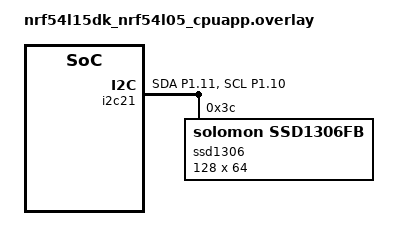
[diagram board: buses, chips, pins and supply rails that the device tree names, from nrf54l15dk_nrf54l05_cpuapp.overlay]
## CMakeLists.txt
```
cmake_minimum_required(VERSION 3.20.0)
set(DTC_OVERLAY_FILE "${CMAKE_CURRENT_SOURCE_DIR}/nrf54l15dk_nrf54l05_cpuapp.overlay")
find_package(Zephyr REQUIRED HINTS $ENV{ZEPHYR_BASE})

project(VCPcontroller)

target_sources(app PRIVATE
    src/main.c
    src/ble_manager.c
    src/vcp_controller.c
    src/battery_reader.c
    src/csip_coordinator.c
    src/app_controller.c
    src/devices_manager.c
    src/has_controller.c
    src/display_manager.c
    src/power_manager.c
    src/button_manager.c
)
```

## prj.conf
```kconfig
CONFIG_BT=y
CONFIG_BT_MAX_CONN=2
CONFIG_BT_MAX_PAIRED=2
CONFIG_BT_DEVICE_NAME="HARC"
CONFIG_BT_CENTRAL=y
CONFIG_BT_BONDABLE=y
CONFIG_BT_SMP=y
CONFIG_BT_SMP_SC_PAIR_ONLY=y
CONFIG_BT_SMP_APP_PAIRING_ACCEPT=y
CONFIG_BT_PRIVACY=y
CONFIG_BT_GATT_AUTO_SEC_REQ=y
CONFIG_BT_FILTER_ACCEPT_LIST=y
CONFIG_BT_RPA_TIMEOUT_DYNAMIC=y

CONFIG_BT_EXT_ADV=y
CONFIG_BT_CTLR_SCAN_DATA_LEN_MAX=251

CONFIG_BT_GATT_CLIENT=y
CONFIG_BT_GATT_AUTO_DISCOVER_CCC=y
CONFIG_BT_GATT_AUTO_UPDATE_MTU=y
CONFIG_BT_GATT_CACHING=y
CONFIG_BT_GATT_SERVICE_CHANGED=y
# Increase GATT resources for multiple concurrent operations
CONFIG_BT_ATT_TX_COUNT=8
CONFIG_BT_ATT_PREPARE_COUNT=4
CONFIG_BT_L2CAP_TX_BUF_COUNT=8
CONFIG_BT_AUDIO=y
CONFIG_BT_VCP_VOL_CTLR=y
CONFIG_BT_CSIP_SET_COORDINATOR=y

# UTF8 support (required by HAS client)
CONFIG_UTF8=y

# Hearing Access Service (HAS) Client support
CONFIG_BT_HAS_CLIENT=y

CONFIG_LOG=y
# Make buffer huge to capture all logs
CONFIG_LOG_BUFFER_SIZE=4096
CONFIG_SYSTEM_WORKQUEUE_STACK_SIZE=4096
CONFIG_MAIN_STACK_SIZE=4096

# Enable heap for k_malloc
CONFIG_HEAP_MEM_POOL_SIZE=4096

# Power Management
CONFIG_PM_DEVICE=y
CONFIG_CRC=y
CONFIG_POWEROFF=y
CONFIG_HWINFO=y

# Enable debug logging
# CONFIG_BT_CONN_LOG_LEVEL_DBG=y
# CONFIG_BT_VCP_VOL_CTLR_LOG_LEVEL_DBG=y
# CONFIG_BT_ATT_LOG_LEVEL_DBG=y
# CONFIG_BT_GATT_LOG_LEVEL_DBG=y
# CONFIG_BT_SMP_LOG_LEVEL_DBG=y
# CONFIG_BT_KEYS_LOG_LEVEL_DBG=y
# CONFIG_BT_RPA_LOG_LEVEL_DBG=y
# CONFIG_SETTINGS_LOG_LEVEL_DBG=y
# CONFIG_BT_CSIP_SET_COORDINATOR_LOG_LEVEL_DBG=y
# CONFIG_BT_CSIP_SET_MEMBER_CRYPTO_LOG_LEVEL_DBG=y
# CONFIG_BT_HAS_CLIENT_LOG_LEVEL_DBG=y

CONFIG_BT_SETTINGS=y
CONFIG_SETTINGS=y
CONFIG_FLASH=y
CONFIG_FLASH_MAP=y
CONFIG_NVS=y
CONFIG_FLASH_PAGE_LAYOUT=y
CONFIG_MPU_ALLOW_FLASH_WRITE=y
CONFIG_BT_SETTINGS_CCC_STORE_ON_WRITE=y

# GPIO Support for buttons
CONFIG_GPIO=y

# I2C Support
CONFIG_I2C=y

# Display Support
CONFIG_DISPLAY=y
CONFIG_SSD1306=y

# Character Frame Buffer for text rendering
CONFIG_CHARACTER_FRAMEBUFFER=y

CONFIG_SEGGER_DEBUGMON=y
CONFIG_CORTEX_M_DEBUG_MONITOR_HOOK=y
```

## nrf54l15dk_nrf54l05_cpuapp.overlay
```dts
/*
 * Device Tree Overlay for nRF54L15DK
 * Configures I2C for OLED display (SSD1306)
 * SDA: P1.11, SCL: P1.10
 */

/* Pin Configuration for I2C21 */
/{
    chosen {
        zephyr,display = &ssd1306;
    };
};

&pinctrl {
    i2c21_default: i2c21_default {
        group1 {
            psels = <NRF_PSEL(TWIM_SDA, 1, 11)>,
                    <NRF_PSEL(TWIM_SCL, 1, 10)>;
        };
    };

    i2c21_sleep: i2c21_sleep {
        group1 {
            psels = <NRF_PSEL(TWIM_SDA, 1, 11)>,
                    <NRF_PSEL(TWIM_SCL, 1, 10)>;
            low-power-enable;
        };
    };
};

&i2c21 {
    compatible = "nordic,nrf-twim";
    status = "okay";
    pinctrl-0 = <&i2c21_default>;
    pinctrl-1 = <&i2c21_sleep>;
    pinctrl-names = "default", "sleep";

    ssd1306: ssd1306@3c {
        compatible = "solomon,ssd1306fb";
        reg = <0x3c>;
        width = <128>;
        height = <64>;
        segment-offset = <0>;
        page-offset = <0>;
        display-offset = <0>;
        multiplex-ratio = <63>;
        segment-remap;
        com-invdir;
        prechargep = <0x22>;
    };
};
```

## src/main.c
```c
#include <zephyr/kernel.h>
#include <zephyr/bluetooth/bluetooth.h>
#include <zephyr/logging/log.h>
#include <zephyr/drivers/gpio.h>

#include "ble_manager.h"
#include "vcp_controller.h"
#include "csip_coordinator.h"
#include "devices_manager.h"
#include "battery_reader.h"
#include "app_controller.h"
#include "has_controller.h"
#include "display_manager.h"

LOG_MODULE_REGISTER(main, LOG_LEVEL_INF);

/* Button definitions from device tree */
static const struct gpio_dt_spec button1 = GPIO_DT_SPEC_GET(DT_ALIAS(sw0), gpios);
static const struct gpio_dt_spec button2 = GPIO_DT_SPEC_GET(DT_ALIAS(sw1), gpios);
static const struct gpio_dt_spec button3 = GPIO_DT_SPEC_GET(DT_ALIAS(sw2), gpios);
static const struct gpio_dt_spec button4 = GPIO_DT_SPEC_GET(DT_ALIAS(sw3), gpios);
static struct gpio_callback button4_cb_data;
static struct gpio_callback button1_cb_data;
static struct gpio_callback button2_cb_data;
static struct gpio_callback button3_cb_data;

/* Button callbacks */
void button1_pressed(const struct device *dev, struct gpio_callback *cb, uint32_t pins)
{
    LOG_INF("Button 1 pressed - Volume Up");
    app_controller_notify_volume_up_button_pressed();
}

void button2_pressed(const struct device *dev, struct gpio_callback *cb, uint32_t pins)
{
    LOG_INF("Button 2 pressed - Volume Down");
    app_controller_notify_volume_down_button_pressed();
}

void button3_pressed(const struct device *dev, struct gpio_callback *cb, uint32_t pins)
{
    LOG_WRN("Button 3 pressed - Pairing!");
    app_controller_notify_pair_button_pressed();
}

void button4_pressed(const struct device *dev, struct gpio_callback *cb, uint32_t pins)
{
    LOG_INF("Button 4 pressed - Next Preset");
    app_controller_notify_preset_button_pressed();
}

static int init_buttons(void)
{
    int ret;

    if (!gpio_is_ready_dt(&button1)) {
        LOG_ERR("Button 1 device not ready");
        return -ENODEV;
    }

    if (!gpio_is_ready_dt(&button2)) {
        LOG_ERR("Button 2 device not ready");
        return -ENODEV;
    }

    if (!gpio_is_ready_dt(&button3)) {
        LOG_ERR("Button 3 device not ready");
        return -ENODEV;
    }

    ret = gpio_pin_configure_dt(&button1, GPIO_INPUT);
    if (ret != 0) {
        LOG_ERR("Failed to configure button 1 (err %d)", ret);
        return ret;
    }

    ret = gpio_pin_configure_dt(&button2, GPIO_INPUT);
    if (ret != 0) {
        LOG_ERR("Failed to configure button 2 (err %d)", ret);
        return ret;
    }

    ret = gpio_pin_configure_dt(&button3, GPIO_INPUT);
    if (ret != 0) {
        LOG_ERR("Failed to configure button 3 (err %d)", ret);
        return ret;
    }

    ret = gpio_pin_interrupt_configure_dt(&button1, GPIO_INT_EDGE_TO_ACTIVE);
    if (ret != 0) {
        LOG_ERR("Failed to configure button 1 interrupt (err %d)", ret);
        return ret;
    }

    ret = gpio_pin_interrupt_configure_dt(&button2, GPIO_INT_EDGE_TO_ACTIVE);
    if (ret != 0) {
        LOG_ERR("Failed to configure button 2 interrupt (err %d)", ret);
        return ret;
    }

    ret = gpio_pin_interrupt_configure_dt(&button3, GPIO_INT_EDGE_TO_ACTIVE);
    if (ret != 0) {
        LOG_ERR("Failed to configure button 3 interrupt (err %d)", ret);
        return ret;
    }

    if (!gpio_is_ready_dt(&button4)) {
        LOG_ERR("Button 4 device not ready");
        return -ENODEV;
    }

    ret = gpio_pin_configure_dt(&button4, GPIO_INPUT);
    if (ret != 0) {
        LOG_ERR("Failed to configure button 4 (err %d)", ret);
        return ret;
    }

    ret = gpio_pin_interrupt_configure_dt(&button4, GPIO_INT_EDGE_TO_ACTIVE);
    if (ret != 0) {
        LOG_ERR("Failed to configure button 4 interrupt (err %d)", ret);
        return ret;
    }

    gpio_init_callback(&button1_cb_data, button1_pressed, BIT(button1.pin));
    gpio_add_callback(button1.port, &button1_cb_data);

    gpio_init_callback(&button2_cb_data, button2_pressed, BIT(button2.pin));
    gpio_add_callback(button2.port, &button2_cb_data);

    gpio_init_callback(&button3_cb_data, button3_pressed, BIT(button3.pin));
    gpio_add_callback(button3.port, &button3_cb_data);

    gpio_init_callback(&button4_cb_data, button4_pressed, BIT(button4.pin));
    gpio_add_callback(button4.port, &button4_cb_data);

    LOG_INF("Buttons initialized: Button 1 = Vol Up, Button 2 = Vol Down, Button 3 = Pair new HIs, Button 4 = Next Preset");
    return 0;
}

int main(void)
{
    int err;

    // /* Initialize work queue for display updates */
    // k_work_init(&display_update_work, display_update_work_handler);

    if (IS_ENABLED(CONFIG_SETTINGS)) {
        err = settings_subsys_init();
        if (err) {
            LOG_ERR("Settings init failed (err %d)", err);
        }

        err = settings_load();
        if (err) {
            LOG_ERR("Settings load failed (err %d)", err);
        }
    }

    err = vcp_controller_init();
	if (err) {
		LOG_ERR("VCP controller init failed (err %d)", err);
		return err;
	}

    err = battery_reader_init();
	if (err)
	{
		LOG_ERR("Battery reader init failed (err %d)", err);
		return err;
	}

	err = csip_coordinator_init();
	if (err)
	{
		LOG_ERR("CSIP coordinator init failed (err %d)", err);
		return err;
	}

    LOG_INF("Starting display initialization...");
    err = display_manager_init();
    if (err) {
        LOG_WRN("Display manager init failed (err %d) - continuing without display", err);
    }
    LOG_INF("Display initialization completed");

    err = has_controller_init();
    if (err) {
        LOG_ERR("HAS controller init failed (err %d)", err);
        return err;
    }

    // LOG_INF("Starting display initialization...");
    // err = display_manager_init();
    // if (err) {
    //     LOG_WRN("Display manager init failed (err %d) - continuing without display", err);
    // }
    // LOG_INF("Display initialization completed");

    /* Initialize buttons */
    err = init_buttons();
    if (err) {
        LOG_ERR("Button init failed (err %d)", err);
        return err;
    }

    /* Initialize Bluetooth */
    err = bt_enable(bt_ready_cb);
    // /* Initialize OLED display */
    // err = oled_display_init();
    // if (err) {
    //     LOG_ERR("OLED init failed (err %d)", err);
    //     return err;
    // }
    // oled_display_status("INITIALIZING");

    // /* Initialize button handlers */
    // err = button_handler_init();
    // if (err) {
    //     LOG_ERR("Button handler init failed (err %d)", err);
    //     return err;
    // }

    while (1) {
        k_sleep(K_SECONDS(1));
    }

    return 0;
}
```

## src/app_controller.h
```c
#ifndef CONNECTION_MANAGER_H
#define CONNECTION_MANAGER_H

#include "ble_manager.h"
#include <zephyr/logging/log.h>
#include <zephyr/kernel.h>
#include <zephyr/bluetooth/bluetooth.h>
#include <zephyr/bluetooth/conn.h>
#include <zephyr/settings/settings.h>

/* Connection state machine states for dual-device coordination */
enum sm_state {
    SM_IDLE,            /* Normal operation, waiting for user input */
    SM_WAKE,            /* Just woke up, determining next state */
    SM_FIRST_TIME_USE,  /* Initial pairing with new hearing aids */
    SM_BONDED_DEVICES,  /* Reconnecting to bonded devices */
    SM_POWER_OFF,       /* Shutting down */
};

#define APP_CONTROLLER_PAIRING_TIMEOUT K_SECONDS(30)
#define APP_CONTROLLER_ACTION_TIMEOUT K_SECONDS(10)

int8_t app_controller_notify_system_ready();
int8_t app_controller_notify_device_connected(uint8_t device_id);
int8_t app_controller_notify_device_disconnected(uint8_t device_id);
int8_t app_controller_notify_bonds_cleared();
int8_t app_controller_notify_device_ready(uint8_t device_id);
int8_t app_controller_notify_scan_complete();
int8_t app_controller_notify_csip_discovered(uint8_t device_id, int8_t err);
int8_t app_controller_notify_csip_member_match(uint8_t device_id, int8_t err, const bt_addr_le_t *addr);
int8_t app_controller_notify_bas_discovered(uint8_t device_id, int err);
int8_t app_controller_notify_vcp_discovered(uint8_t device_id, int err);
int8_t app_controller_notify_vcp_state_read(uint8_t device_id, int err);
int8_t app_controller_notify_volume_up_button_pressed();
int8_t app_controller_notify_volume_down_button_pressed();
int8_t app_controller_notify_pair_button_pressed();
int8_t app_controller_notify_preset_button_pressed();
int8_t app_controller_notify_clear_bonds_button_pressed();
int8_t app_controller_notify_has_discovered(uint8_t device_id, int err);
int8_t app_controller_notify_has_presets_read(uint8_t device_id, int err);
int8_t app_controller_notify_has_read_presets();
int8_t app_controller_notify_power_off();

#endif /* CONNECTION_MANAGER_H */
```

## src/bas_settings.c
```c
/**
 * @file bas_settings.c
 * @brief BAS handle caching in NVS settings
 */

#include "bas_settings.h"

#include <zephyr/settings/settings.h>
#include <zephyr/logging/log.h>
#include <string.h>

LOG_MODULE_REGISTER(bas_settings, LOG_LEVEL_INF);

/**
 * @brief Store BAS handles to NVS
 */
int bas_settings_store_handles(const bt_addr_le_t *addr,
                               const struct bt_bas_handles *handles)
{
	if (!addr || !handles) {
		return -EINVAL;
	}

	char addr_str[BT_ADDR_LE_STR_LEN];
	bt_addr_le_to_str(addr, addr_str, sizeof(addr_str));

	/* Create settings key: "harc/device/<addr>/bas_handles" */
	char key[64];
	snprintk(key, sizeof(key), "harc/device/%s/bas_handles", addr_str);

	/* Store handles as binary blob */
	int err = settings_save_one(key, handles, sizeof(*handles));
	if (err) {
		LOG_ERR("Failed to store BAS handles for %s (err %d)", addr_str, err);
		return err;
	}

	LOG_INF("Stored BAS handles for %s", addr_str);
	LOG_INF("  service: 0x%04x-0x%04x", handles->service_handle, handles->service_handle_end);
	LOG_INF("  battery_level: 0x%04x", handles->battery_level_handle);
	return 0;
}

/* Context for settings load callback */
struct bas_load_context {
	struct bt_bas_handles *handles;
	bool found;
};

/* Settings load callback for BAS handles */
static int bas_settings_load_cb(const char *key, size_t len, settings_read_cb read_cb,
                                void *cb_arg, void *param)
{
	struct bas_load_context *ctx = (struct bas_load_context *)param;
	const char *name;

	if (!key) {
		return 0;
	}

	/* Extract the leaf name from the key (after last '/') */
	name = strrchr(key, '/');
	if (name) {
		name++; /* Skip the '/' */
	} else {
		name = key;
	}

	if (strcmp(name, "bas_handles") == 0) {
		if (len == sizeof(struct bt_bas_handles)) {
			read_cb(cb_arg, ctx->handles, sizeof(struct bt_bas_handles));
			ctx->found = true;
		} else {
			LOG_WRN("Invalid BAS handles size: %zu (expected %zu)",
			        len, sizeof(struct bt_bas_handles));
		}
	}

	return 0;
}

/**
 * @brief Load BAS handles from NVS
 */
int bas_settings_load_handles(const bt_addr_le_t *addr,
                              struct bt_bas_handles *handles)
{
	if (!addr || !handles) {
		return -EINVAL;
	}

	char addr_str[BT_ADDR_LE_STR_LEN];
	bt_addr_le_to_str(addr, addr_str, sizeof(addr_str));

	/* Create settings key base for this device */
	char key_base[64];
	snprintk(key_base, sizeof(key_base), "harc/device/%s", addr_str);
	LOG_DBG("Loading BAS handles for %s at %s", addr_str, key_base);

	/* Set up context for callback */
	struct bas_load_context ctx = {
		.handles = handles,
		.found = false,
	};

	/* Load settings for this device */
	int err = settings_load_subtree_direct(key_base, bas_settings_load_cb, &ctx);
	if (err) {
		LOG_DBG("Failed to load settings for %s (err %d)", addr_str, err);
		return -ENOENT;
	}

	if (!ctx.found) {
		LOG_DBG("BAS handles not found for %s", addr_str);
		return -ENOENT;
	}

	LOG_INF("Loaded BAS handles for %s", addr_str);
	LOG_INF("  service: 0x%04x-0x%04x", handles->service_handle, handles->service_handle_end);
	LOG_INF("  battery_level: 0x%04x", handles->battery_level_handle);
	return 0;
}

/**
 * @brief Clear BAS handles from NVS
 */
int bas_settings_clear_handles(const bt_addr_le_t *addr)
{
	if (!addr) {
		return -EINVAL;
	}

	char addr_str[BT_ADDR_LE_STR_LEN];
	bt_addr_le_to_str(addr, addr_str, sizeof(addr_str));

	/* Create settings key: "harc/device/<addr>/bas_handles" */
	char key[64];
	snprintk(key, sizeof(key), "harc/device/%s/bas_handles", addr_str);

	/* Delete the setting */
	int err = settings_delete(key);
	if (err) {
		LOG_ERR("Failed to clear BAS handles for %s (err %d)", addr_str, err);
		return err;
	}

	LOG_INF("Cleared BAS handles for %s", addr_str);
	return 0;
}
```

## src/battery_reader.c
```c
#include "battery_reader.h"
#include "bas_settings.h"
#include "devices_manager.h"
#include "app_controller.h"
#include "display_manager.h"

LOG_MODULE_REGISTER(battery_reader, LOG_LEVEL_INF);

/* Global state variables */
bool battery_discovered = false;
uint8_t battery_level = 0;

/* Track whether handles were loaded from cache (per device) - skip re-storing if true */
static bool handles_from_cache[CONFIG_BT_MAX_CONN];

/* Read callback for battery level characteristic */
static uint8_t battery_read_cb(struct bt_conn *conn, uint8_t err,
							   struct bt_gatt_read_params *params,
							   const void *data, uint16_t length)
{
	struct device_context *ctx = devices_manager_get_device_context_by_conn(conn);

	if (err)
	{
		LOG_ERR("Battery level read failed (err %u) [DEVICE ID %d]", err, ctx->device_id);
		ble_cmd_complete(ctx->device_id, err);
		return 0;
	}

	if (!data)
	{
		LOG_DBG("Battery level read complete [DEVICE ID %d]", ctx->device_id);
		ble_cmd_complete(ctx->device_id, -1);
		return 0;
	}

	if (length != 1)
	{
		LOG_WRN("Unexpected battery level length: %u [DEVICE ID %d]", length, ctx->device_id);
		ble_cmd_complete(ctx->device_id, -2);
		return 0;
	}

	ctx->bas_ctlr.battery_level = *(uint8_t *)data;
	LOG_INF("Battery level read: %u%% [DEVICE ID %d]", ctx->bas_ctlr.battery_level, ctx->device_id);

	/* Update display with battery level */
	display_manager_update_battery(ctx->device_id, ctx->bas_ctlr.battery_level);

	ble_cmd_complete(ctx->device_id, 0);

	return 0;
}

/* Read parameters for battery level */
static struct bt_gatt_read_params battery_read_params = {
	.func = battery_read_cb,
	.handle_count = 1,
};

/* Discovery callback for Battery Service characteristics */
static uint8_t discover_char_cb(struct bt_conn *conn,
                                 const struct bt_gatt_attr *attr,
                                 struct bt_gatt_discover_params *params)
{
	struct device_context *ctx = devices_manager_get_device_context_by_conn(conn);
	struct bt_gatt_chrc *chrc;
	
	if (!attr) {
		LOG_DBG("Discovery complete for type %d [DEVICE ID %d]", params->type, ctx->device_id);

		/* If we have the characteristic handle, mark discovery as complete */
		if (ctx->bas_ctlr.battery_level_handle != 0) {
			ctx->info.bas_discovered = true;

			/* Only extract and cache handles if they weren't loaded from cache.
			 * This avoids unnecessary stack usage from settings operations when
			 * handles are already in NVS. */
			if (!handles_from_cache[ctx->device_id]) {
				/* Cache handles for future reconnections */
				struct bt_bas_handles handles = {
					.service_handle = ctx->bas_ctlr.battery_service_handle,
					.service_handle_end = ctx->bas_ctlr.battery_service_handle_end,
					.battery_level_handle = ctx->bas_ctlr.battery_level_handle,
				};

				/* Store handles for the current device */
				bas_settings_store_handles(&ctx->info.addr, &handles);

				/* If this is a new device (initial pairing) and part of a CSIP set, also store handles
				 * for all other set members. Since all hearing aids in the set have identical firmware
				 * and GATT layout, we can reuse the same handles for all set members.
				 * Skip this on reconnection to avoid unnecessary work and potential stack issues. */
				// if (ctx->info.is_new_device) {
					struct bond_collection collection;
					if (devices_manager_get_bonded_devices_collection(&collection) == 0) {
						struct bonded_device_entry current_entry;
						if (devices_manager_find_bonded_entry_by_addr(&ctx->info.addr, &current_entry) && current_entry.is_set_member) {
						LOG_DBG("Current device is CSIP set member, caching BAS handles for all set members");
						LOG_DBG("Bonded devices count: %d", collection.count);
						LOG_HEXDUMP_DBG(current_entry.sirk, CSIP_SIRK_SIZE, "Current device SIRK:");

						for (uint8_t i = 0; i < collection.count; i++) {
							char debug_addr[BT_ADDR_LE_STR_LEN];
							bt_addr_le_to_str(&collection.devices[i].addr, debug_addr, sizeof(debug_addr));
							LOG_DBG("  Device %d: %s, is_set_member=%d, set_rank=%d",
								i, debug_addr, collection.devices[i].is_set_member, collection.devices[i].set_rank);
							if (collection.devices[i].is_set_member) {
								LOG_HEXDUMP_DBG(collection.devices[i].sirk, CSIP_SIRK_SIZE, "  Device SIRK:");
							}
							/* Skip the current device (already stored) */
							if (bt_addr_le_cmp(&collection.devices[i].addr, &ctx->info.addr) == 0) {
								continue;
							}

							/* Only store for devices in the same CSIP set */
							if (collection.devices[i].is_set_member &&
								memcmp(collection.devices[i].sirk, current_entry.sirk, CSIP_SIRK_SIZE) == 0) {

								int err = bas_settings_store_handles(&collection.devices[i].addr, &handles);
								if (err == 0) {
									char addr_str[BT_ADDR_LE_STR_LEN];
									bt_addr_le_to_str(&collection.devices[i].addr, addr_str, sizeof(addr_str));
									LOG_INF("BAS handles also cached for set member: %s", addr_str);
								} else {
									LOG_WRN("Failed to cache BAS handles for set member (err %d)", err);
								}
							}
						}
					}
					}
				// }
			} else {
				LOG_DBG("Handles were loaded from cache, skipping re-storage");
			}

			// Complete the discovery command
			LOG_DBG("Battery Service discovery complete (handle: 0x%04x, CCC: 0x%04x) [DEVICE ID %d]",
			        ctx->bas_ctlr.battery_level_handle, ctx->bas_ctlr.battery_level_ccc_handle, ctx->device_id);

			app_controller_notify_bas_discovered(ctx->device_id, 0);
			ble_cmd_complete(ctx->device_id, 0);
		} else {
			LOG_ERR("Battery Service discovery completed but no characteristic found [DEVICE ID %d]", ctx->device_id);
			app_controller_notify_bas_discovered(ctx->device_id, -EINVAL);
			ble_cmd_complete(ctx->device_id, -EINVAL);
		}

		return BT_GATT_ITER_STOP;
	}

	LOG_DBG("[ATTRIBUTE] handle 0x%04X [DEVICE ID %d]", attr->handle, ctx->device_id);

	if (params->type == BT_GATT_DISCOVER_CHARACTERISTIC) {
		chrc = (struct bt_gatt_chrc *)attr->user_data;
		
		if (!bt_uuid_cmp(chrc->uuid, BT_UUID_BAS_BATTERY_LEVEL)) {
			LOG_DBG("Found Battery Level characteristic at handle 0x%04X (properties 0x%02X) [DEVICE ID %d]", chrc->value_handle, chrc->properties, ctx->device_id);
			ctx->bas_ctlr.battery_level_handle = chrc->value_handle;

			// return BT_GATT_ITER_STOP;
		}
	}

	return BT_GATT_ITER_CONTINUE;
}

/* Discovery callback for Battery Service */
static uint8_t discover_service_cb(struct bt_conn *conn,
								   const struct bt_gatt_attr *attr,
								   struct bt_gatt_discover_params *params)
{
	struct device_context *ctx = devices_manager_get_device_context_by_conn(conn);

	if (!attr)
	{
		LOG_WRN("Battery Service not found [DEVICE ID %d]", ctx->device_id);
		return BT_GATT_ITER_STOP;
	}

	struct bt_gatt_service_val *svc = (struct bt_gatt_service_val *)attr->user_data;

	LOG_DBG("Found Battery Service at handle 0x%04X-0x%04X [DEVICE ID %d]", attr->handle, svc->end_handle, ctx->device_id);
	ctx->bas_ctlr.battery_service_handle = attr->handle;
	ctx->bas_ctlr.battery_service_handle_end = svc->end_handle;
	LOG_DBG("Discover characteristics within Battery Service [DEVICE ID %d]", ctx->device_id);

	static struct bt_gatt_discover_params discover_params;
	memset(&discover_params, 0, sizeof(discover_params));
	discover_params.uuid = NULL;
	discover_params.type = BT_GATT_DISCOVER_CHARACTERISTIC;
	discover_params.start_handle = attr->handle + 1;
	discover_params.end_handle = svc->end_handle;
	discover_params.func = discover_char_cb;

	int err = bt_gatt_discover(conn, &discover_params);
	if (err)
	{
		LOG_ERR("Failed to discover characteristics (err %d) [DEVICE ID %d]", err, ctx->device_id);
	}

	return BT_GATT_ITER_STOP;
}

/* Discover Battery Service on connected device */
int battery_discover(uint8_t device_id)
{
	struct device_context *ctx = devices_manager_get_device_context_by_id(device_id);

	if (!ctx || !ctx->conn)
	{
		LOG_ERR("Invalid connection context [DEVICE ID %d]", ctx->device_id);
		return -EINVAL;
	}

	if (ctx->state != CONN_STATE_READY)
	{
		LOG_WRN("Not starting Battery Service discovery - wrong state: %d [DEVICE ID %d]", ctx->state, ctx->device_id);
		return -EINVAL;
	}

	LOG_DBG("Starting Battery Service discovery [DEVICE ID %d]", ctx->device_id);

	if (!ctx->info.bas_discovered)
	{
		/* Reset cache flag - will be set if handles are successfully loaded from cache */
		handles_from_cache[device_id] = false;

		/* Try to load cached handles first */
		struct bt_bas_handles cached_handles;
		int load_err = bas_settings_load_handles(&ctx->info.addr, &cached_handles);
		if (load_err == 0) {
			LOG_INF("Loaded cached BAS handles - skipping discovery [DEVICE ID %d]", device_id);
			ctx->bas_ctlr.battery_service_handle = cached_handles.service_handle;
			ctx->bas_ctlr.battery_service_handle_end = cached_handles.service_handle_end;
			ctx->bas_ctlr.battery_level_handle = cached_handles.battery_level_handle;
			ctx->info.bas_discovered = true;
			handles_from_cache[device_id] = true;

			app_controller_notify_bas_discovered(ctx->device_id, 0);
			ble_cmd_complete(ctx->device_id, 0);
			return 0;
		}

		/* No cached handles, perform full discovery */
		static struct bt_gatt_discover_params discover_params;
		memset(&discover_params, 0, sizeof(discover_params));
		discover_params.uuid = BT_UUID_BAS;
		discover_params.type = BT_GATT_DISCOVER_PRIMARY;
		discover_params.start_handle = BT_ATT_FIRST_ATTRIBUTE_HANDLE;
		discover_params.end_handle = BT_ATT_LAST_ATTRIBUTE_HANDLE;
		discover_params.func = discover_service_cb;

		int err = bt_gatt_discover(ctx->conn, &discover_params);
		if (err)
		{
			LOG_ERR("Battery Service discovery failed (err %d) [DEVICE ID %d]", err, ctx->device_id);
			return err;
		}
	} else {
		LOG_DBG("Battery Service already discovered [DEVICE ID %d]", ctx->device_id);
	}

	return 0;
}

/* Read battery level */
int battery_read_level(uint8_t device_id)
{
	struct device_context *ctx = devices_manager_get_device_context_by_id(device_id);
	
	if (!ctx->conn)
	{
		LOG_ERR("Invalid connection [DEVICE ID %d]", ctx->device_id);
		return -EINVAL;
	}

	if (!ctx->info.bas_discovered || ctx->bas_ctlr.battery_level_handle == 0)
	{
		LOG_WRN("Battery Service not discovered [DEVICE ID %d]", ctx->device_id);
		return -ENOENT;
	}

	LOG_DBG("Reading battery level from handle 0x%04X [DEVICE ID %d]", ctx->bas_ctlr.battery_level_handle, ctx->device_id);

	battery_read_params.single.handle = ctx->bas_ctlr.battery_level_handle;
	battery_read_params.single.offset = 0;

	int err = bt_gatt_read(ctx->conn, &battery_read_params);
	if (err)
	{
		LOG_ERR("Battery level read failed (err %d) [DEVICE ID %d]", err, ctx->device_id);
		return err;
	}

	return 0;
}

/* Reset battery reader state */
void battery_reader_reset(uint8_t device_id)
{
	struct device_context *ctx = devices_manager_get_device_context_by_id(device_id);

	ctx->info.bas_discovered = false;
	ctx->bas_ctlr.battery_level_handle = 0;
	ctx->bas_ctlr.battery_level_ccc_handle = 0;
	ctx->bas_ctlr.battery_level = 0;
	handles_from_cache[device_id] = false;
	LOG_DBG("Battery reader state reset [DEVICE ID %d]", ctx->device_id);
}

int battery_reader_init(void) {
	// This does nothing but I wanted consistency lol, feel free to remove if you want :)
	LOG_INF("Battery reader initialized");

	return 0;
}
```

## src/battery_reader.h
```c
#ifndef BATTERY_READER_H
#define BATTERY_READER_H

#include "ble_manager.h"
#include <zephyr/kernel.h>
#include <zephyr/bluetooth/bluetooth.h>
#include <zephyr/bluetooth/conn.h>
#include <zephyr/bluetooth/gatt.h>
#include <zephyr/logging/log.h>

/* Battery Service UUID */
// #define BT_UUID_BAS_VAL 0x180F
#define BT_UUID_BAS BT_UUID_DECLARE_16(BT_UUID_BAS_VAL)

/* Battery Level Characteristic UUID */
// #define BT_UUID_BAS_BATTERY_LEVEL_VAL 0x2A19
#define BT_UUID_BAS_BATTERY_LEVEL BT_UUID_DECLARE_16(BT_UUID_BAS_BATTERY_LEVEL_VAL)

/**
 * @brief Discover Battery Service on a connected device
 * 
 * @return 0 on success, negative error code on failure
 */
int battery_discover();

/**
 * @brief Read battery level from discovered battery service
 * 
 * @param conn Pointer to the BLE connection
 * @return 0 on success, negative error code on failure
 */
int battery_read_level(struct device_context *conn_ctx);

/**
 * @brief Subscribe to battery level notifications
 * 
 * @param conn Pointer to the BLE connection
 * @return 0 on success, negative error code on failure
 */
int battery_subscribe_notifications();

/**
 * @brief Reset battery reader state
 */
void battery_reader_reset(struct device_context *conn_ctx);

int battery_reader_init(struct device_context *device_ctx);

#endif /* BATTERY_READER_H */
```

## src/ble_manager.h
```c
#ifndef BLE_MANAGER_H
#define BLE_MANAGER_H

#include <zephyr/kernel.h>
#include <zephyr/bluetooth/addr.h>
#include <zephyr/bluetooth/bluetooth.h>
#include <zephyr/bluetooth/conn.h>
#include <zephyr/settings/settings.h>
#include <zephyr/logging/log.h>
#include <zephyr/bluetooth/uuid.h>
#include <zephyr/bluetooth/hci.h>
#include <zephyr/sys/byteorder.h>
#include <zephyr/bluetooth/audio/has.h>
#include <stdint.h>
#include <string.h>

/**
 * @brief Helper macro for fulfilling scanning parameters
 * according to the CAP Connection procedures "Ready for Audio related Peripheral" mode.
 * 
 * This will save power when compared to the default @ref BT_LE_SCAN_ACTIVE.
 * It's only used when scanning for a bondable device. If a device is already bonded, we use 100% duty cycle to scan and connect.
 */
#define BT_LE_SCAN_ACTIVE_CAP_RAP BT_LE_SCAN_PARAM(BT_LE_SCAN_TYPE_ACTIVE, \
            BT_LE_SCAN_OPT_FILTER_DUPLICATE, \
            BT_GAP_SCAN_SLOW_INTERVAL_1, \
            BT_GAP_SCAN_SLOW_WINDOW_1)

#define MAX_DISCOVERED_DEVICES_MEMORY_SIZE 1024 // 1 KB
#define BT_NAME_MAX_LEN 12
#define BT_SECURITY_WANTED BT_SECURITY_L2
#define BT_SCAN_TIMEOUT_MS 10000

/* CSIP Set Information */
#define CSIP_SIRK_SIZE 16

/* Maximum number of presets to support */
#define HAS_MAX_PRESETS 10

/* Struct to hold scan callback user data */
struct scan_callback_data {
	bt_addr_le_t addr;
	int8_t rssi;
	bool is_GN_HI; // Set to true if GN Hearing HI service UUID found (0xFEFE)
	char name[BT_NAME_MAX_LEN];
};

struct bt_bas_ctlr {
    uint16_t battery_service_handle;
    uint16_t battery_service_handle_end;
    uint16_t battery_level_handle;
    uint16_t battery_level_ccc_handle;
    uint8_t battery_level;
};

/* Preset information structure */
struct has_preset_info {
    uint8_t index;
    bool available;
    bool writable;
    char name[BT_HAS_PRESET_NAME_MAX];
};

struct bt_has_ctlr {
    struct bt_has *has;
    uint8_t preset_count;
    uint8_t active_preset_index;
    struct has_preset_info presets[HAS_MAX_PRESETS];
    bool presets_read;
};

struct bt_vcp_ctlr {
    struct bt_vcp_vol_ctlr *vol_ctlr;
    struct {
        uint8_t mute : 1;
        uint8_t volume;
    } state;
};

/* BLE command types */
enum ble_cmd_type {
    BLE_CMD_REQUEST_SECURITY,

    /* VCP commands */
    BLE_CMD_VCP_DISCOVER,
    BLE_CMD_VCP_VOLUME_UP,
    BLE_CMD_VCP_VOLUME_DOWN,
    BLE_CMD_VCP_SET_VOLUME,
    BLE_CMD_VCP_MUTE,
    BLE_CMD_VCP_UNMUTE,
    BLE_CMD_VCP_READ_STATE,
    BLE_CMD_VCP_READ_FLAGS,

    /* Battery Service commands */
    BLE_CMD_BAS_DISCOVER,
    BLE_CMD_BAS_READ_LEVEL,

    /* CSIP commands */
    BLE_CMD_CSIP_DISCOVER,

    /* Hearing Access Service commands */
    BLE_CMD_HAS_DISCOVER,
    BLE_CMD_HAS_READ_PRESETS,
    BLE_CMD_HAS_SET_PRESET,
    BLE_CMD_HAS_NEXT_PRESET,
    BLE_CMD_HAS_PREV_PRESET,
};

/* BLE command structure */
struct ble_cmd {
    uint8_t device_id;
    enum ble_cmd_type type;
    uint8_t d0;  // Data parameter (e.g., volume level)
    uint8_t retry_count;
    sys_snode_t node;  // For linked list
};

/* Command queue configuration */
#define BLE_CMD_QUEUE_SIZE 10
#define BLE_CMD_TIMEOUT_MS 2000

/* BLE manager public functions */
int ble_manager_init(void);
int8_t ble_manager_disable_bt();
int ble_manager_connect(uint8_t device_id, const bt_addr_le_t *addr);
void bt_ready_cb(int err);
void ble_manager_set_device_ctx_battery_level(struct bt_conn *conn, uint8_t level);
void ble_manager_start_scan_for_HIs(void);
void ble_manager_stop_scan_for_HIs(void);
int ble_manager_connect_to_bonded_device(uint8_t device_id);
int ble_manager_autoconnect_to_device_by_addr(uint8_t device_id,const bt_addr_le_t *addr);
int ble_manager_connect_to_scanned_device(uint8_t device_id, uint8_t idx);
void ble_manager_establish_trusted_bond(uint8_t device_id);


/* BLE command queue API */
int ble_cmd_request_security(uint8_t device_id);
int ble_cmd_vcp_discover(uint8_t device_id, bool high_priority);
int ble_cmd_vcp_volume_up(uint8_t device_id, bool high_priority);
int ble_cmd_vcp_volume_down(uint8_t device_id, bool high_priority);
int ble_cmd_vcp_set_volume(uint8_t device_id, uint8_t volume, bool high_priority);
int ble_cmd_vcp_mute(uint8_t device_id, bool high_priority);
int ble_cmd_vcp_unmute(uint8_t device_id, bool high_priority);
int ble_cmd_vcp_read_state(uint8_t device_id, bool high_priority);
int ble_cmd_vcp_read_flags(uint8_t device_id, bool high_priority);

int ble_cmd_bas_discover(uint8_t device_id, bool high_priority);
int ble_cmd_bas_read_level(uint8_t device_id, bool high_priority);

int ble_cmd_csip_discover(uint8_t device_id, bool high_priority);

void ble_cmd_queue_reset(uint8_t queue_id);

void ble_cmd_complete(uint8_t device_id, int err);

/* Connection management */
extern struct bt_conn_cb conn_callbacks;
extern struct bt_conn *auth_conn;
int ble_manager_disconnect_device(struct bt_conn *conn);

/* Connection initiation */
int schedule_auto_connect(uint8_t device_id);

/* HAS command queue API */
int ble_cmd_has_discover(uint8_t device_id, bool high_priority);
int ble_cmd_has_read_presets(uint8_t device_id, bool high_priority);
int ble_cmd_has_set_preset(uint8_t device_id, uint8_t preset_index, bool high_priority);
int ble_cmd_has_next_preset(uint8_t device_id, bool high_priority);
int ble_cmd_has_prev_preset(uint8_t device_id, bool high_priority);
#endif /* BLE_MANAGER_H */
```

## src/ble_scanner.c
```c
#include "ble_scanner.h"
#include <zephyr/logging/log.h>
#include <zephyr/sys/byteorder.h>
#include <zephyr/bluetooth/uuid.h>
#include <zephyr/bluetooth/audio/vcp.h>
#include <string.h>

LOG_MODULE_REGISTER(ble_scanner, LOG_LEVEL_INF);

uint8_t deviceCount = 0;
uint8_t hiCount = 0;

struct k_work_delayable printDevicesWork;

struct bt_device_node *discovered_devices = NULL;

static void printDevicesHandler(struct k_work *work)
{
	(void)(work);
	// printDiscoveredDevices();
	k_work_schedule(&printDevicesWork, K_SECONDS(10));
}

struct bt_device_node *clearDiscoveredDevices(void)
{
	struct bt_device_node *current = discovered_devices;
	struct bt_device_node *next;

	while (current)
	{
		next = current->next;
		k_free(current);
		current = next;
	}

	discovered_devices = NULL;
	hiCount = 0;

	return discovered_devices;
}

size_t getDevicesMemoryUsed(void)
{
	LOG_DBG("Devices: %d", deviceCount);
	LOG_DBG("Size of device node: %zu", sizeof(struct bt_device_node));
	return deviceCount * sizeof(struct bt_device_node);
}

struct bt_device_node *createDevice(void) {
	struct bt_device_node *new_node = k_malloc(sizeof(struct bt_device_node));
	if (!new_node)
	{
		LOG_ERR("Memory allocation failed");
		return NULL;
	}
	memset(new_node, 0, sizeof(*new_node)); // Initialize all fields to zero/NULL
	return new_node;
}

/* Save discovered device address */
bool saveHI(struct device_info *info)
{
	struct bt_device_node *current = discovered_devices;

	/* Check if the address is already in the list */
	while (current)
	{
		if (!bt_addr_le_cmp(&current->info.addr, &info->addr)) // Compare with the new info structure
		{
			return false; // Address already exists
		}
		current = current->next;
	}

	char addr_str[BT_ADDR_LE_STR_LEN];
	bt_addr_le_to_str(&info->addr, addr_str, sizeof(addr_str));
	LOG_INF("Saving device: %s", addr_str);

	/* Add new address to the list */
	if (getDevicesMemoryUsed() + sizeof(*current) > MAX_DISCOVERED_DEVICES_MEMORY_SIZE)
	{
		LOG_WRN("Memory limit reached (%zu bytes) - cannot save more addresses", getDevicesMemoryUsed());
		return false;
	}

	LOG_DBG("Allocating memory (%d bytes) for new device node", sizeof(struct bt_device_node));
	struct bt_device_node *new_node = createDevice();
	if (!new_node)
	{
		LOG_ERR("Memory allocation failed");
		return false;
	}

	bt_addr_le_copy(&new_node->info.addr, &info->addr);
	strncpy(new_node->info.name, info->name, BT_NAME_MAX_LEN); // Copy name with max length
	new_node->info.name[BT_NAME_MAX_LEN] = '\0'; // Ensure null-termination
	new_node->info.isHI = info->isHI;
	new_node->info.hasName = info->hasName;
	new_node->next = discovered_devices;
	discovered_devices = new_node;

	deviceCount++;

	if (new_node->info.isHI) {
		hiCount++;
		printDiscoveredHIs();
	}

	LOG_DBG("Saved new HI");

	return true;
}

struct bt_device_node *getHIByAddr(const bt_addr_le_t *addr)
{
	struct bt_device_node *current = discovered_devices;

	while (current)
	{
		if (!bt_addr_le_cmp(&current->info.addr, addr))
		{
			return current;
		}

		current = current->next;
	}

	return NULL;
}

struct bt_device_node *getHIByName(const char *name)
{
	struct bt_device_node *current = discovered_devices;

	while (current)
	{
		if (strcmp(current->info.name, name) == 0)
		{
			return current;
		}

		current = current->next;
	}

	return NULL;
}

void printDiscoveredHIs(void)
{
	if (!discovered_devices)
	{
		LOG_INF("No HIs discovered yet.");
		return;
	}

	LOG_INF("%d discovered HIs (only displaying the ones with names):", hiCount);
	struct bt_device_node *current = discovered_devices;
	if (!current)
	{
		return;
	}
	else
	{
		while (current)
		{
			if (current->info.isHI && current->info.hasName)
			{
				char addr_str[BT_ADDR_LE_STR_LEN];
				bt_addr_le_to_str(&current->info.addr, addr_str, sizeof(addr_str));
				LOG_INF(" - %s, %s", addr_str, current->info.name);
			}
			current = current->next;
		}
	}
}

/* Connection callbacks */
static void connected(struct bt_conn *conn, uint8_t err)
{
}

static void disconnected(struct bt_conn *conn, uint8_t reason)
{
}

BT_CONN_CB_DEFINE(conn_callbacks) = {
	.connected = connected,
	.disconnected = disconnected,
};

/* Device discovery function
   Extracts HAS service and device name from advertisement data */
static bool device_found(struct bt_data *data, void *user_data)
{
	struct device_info *info = (struct device_info *)user_data;
	char addr_str[BT_ADDR_LE_STR_LEN];
	bt_addr_le_to_str(&info->addr, addr_str, sizeof(addr_str));

	struct bt_device_node *existing_device = getHIByAddr(&info->addr);

	if (existing_device && existing_device->info.hasName)
		LOG_DBG("Advertisement data type 0x%X len %u from %s", data->type, data->data_len, existing_device->info.name);
	else
		LOG_DBG("Advertisement data type 0x%X len %u from %s", data->type, data->data_len, addr_str);

	switch (data->type)
	{
		case BT_DATA_SVC_DATA16:
			// Parse 16-bit service data
			if (data->data_len >= 2)
			{
				for (size_t i = 0; i <= data->data_len - 2; i += 2)
				{
					uint16_t uuid_val = sys_get_le16(&data->data[i]);
					LOG_DBG("Service Data UUID 0x%04X", uuid_val);

					if (uuid_val == 0xFEFE)
					{
						LOG_DBG("Found GN Hearing HI service UUID");
						info->isHI = true;

						if (existing_device != NULL)
							existing_device->info.isHI = info->isHI;
						else
							saveHI(info);

						break;
					}
				}
			}
			
			break;

		case BT_DATA_NAME_COMPLETE:
		case BT_DATA_NAME_SHORTENED:
			size_t name_len = MIN(data->data_len, BT_NAME_MAX_LEN);
			memcpy(info->name, data->data, name_len);
			info->name[name_len] = '\0';
			info->hasName = true;
			if (existing_device != NULL && !existing_device->info.hasName) {
				strcpy(existing_device->info.name, info->name);
				existing_device->info.hasName = true;
				if (existing_device->info.isHI)
					printDiscoveredHIs();
			}

			break;

		default:
			return true;
	}

	return true;
}

static void device_found_cb(const bt_addr_le_t *addr, int8_t rssi, uint8_t type, struct net_buf_simple *ad)
{
	char addr_str[BT_ADDR_LE_STR_LEN];
	struct device_info info = {0};

	/* Initialize device info structure */
	info.addr = *addr;
	info.isHI = false;
	info.hasName = false;
	memset(info.name, 0, sizeof(info.name));

	bt_addr_le_to_str(addr, addr_str, sizeof(addr_str));

	/* Parse advertisement data to extract HAS service and name */
	bt_data_parse(ad, device_found, &info);
}

/* Start BLE scanning */
void ble_scanner_start(void)
{
	int err;

	/* Stop any existing scan first */
	// bt_le_scan_stop();

	err = bt_le_scan_start(BT_LE_SCAN_ACTIVE, device_found_cb);
	if (err)
	{
		LOG_ERR("Scanning failed to start (err %d)", err);
		return;
	}

	LOG_INF("Scanning for HIs");

	k_work_init_delayable(&printDevicesWork, printDevicesHandler);
	k_work_schedule(&printDevicesWork, K_SECONDS(10));
}

/* Initialize BLE scanner */
int ble_scanner_init(void)
{
	LOG_INF("BLE scanner initialized");
	return 0;
}
```

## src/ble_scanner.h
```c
#ifndef BLE_SCANNER_H
#define BLE_SCANNER_H

#include <zephyr/kernel.h>
#include <zephyr/bluetooth/bluetooth.h>
#include <zephyr/bluetooth/conn.h>
#include <stdint.h>

#define MAX_DISCOVERED_DEVICES_MEMORY_SIZE 1024 // 1 KB
#define BT_NAME_MAX_LEN 12

extern uint8_t deviceCount;
extern uint8_t hiCount;

/* Structure to pass data between parsing callbacks */
struct device_info
{
	bt_addr_le_t addr;
	char name[BT_NAME_MAX_LEN + 1];
	bool isHI;
	bool hasName;
};

struct bt_device_node
{
	struct device_info info;
	struct bt_device_node *next;
};

extern struct bt_device_node *discovered_devices;

/* BLE scanner functions */
int ble_scanner_init(void);
void ble_scanner_start(void);
void printDiscoveredDevices(void);
void printDiscoveredHIs(void);
struct bt_device_node *clearDiscoveredDevices(void);
struct bt_device_node *getHIByAddr(const bt_addr_le_t *addr);
struct bt_device_node *getHIByName(const char *name);
size_t getDevicesMemoryUsed(void);
struct bt_device_node *createDevice(void);
bool saveHI(struct device_info *info);

/* Connection management */
extern struct bt_conn_cb conn_callbacks;

#endif /* BLE_SCANNER_H */
```

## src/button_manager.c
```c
#include "button_manager.h"
#include "app_controller.h"

LOG_MODULE_REGISTER(button_manager, LOG_LEVEL_INF);

/* Debounce settings */
#define DEBOUNCE_TIME_MS 1000  /* 1000ms debounce period */

/* Last press timestamps for each button */
static int64_t last_press_time[4] = {0};

/* Button definitions from device tree */
static struct gpio_dt_spec button1 = GPIO_DT_SPEC_GET(DT_ALIAS(sw0), gpios);
static struct gpio_dt_spec button2 = GPIO_DT_SPEC_GET(DT_ALIAS(sw1), gpios);
static struct gpio_dt_spec button3 = GPIO_DT_SPEC_GET(DT_ALIAS(sw2), gpios);
static struct gpio_dt_spec button4 = GPIO_DT_SPEC_GET(DT_ALIAS(sw3), gpios);

struct gpio_callback button1_cb_data;
struct gpio_callback button2_cb_data;
struct gpio_callback button3_cb_data;
struct gpio_callback button4_cb_data;

struct gpio_dt_spec* get_button_by_id(uint8_t button_id);

bool button_manager_buttons_ready = false;

void button_manager_reset_buttons(void) {
    button_manager_buttons_ready = false;
    /* Reset debounce timestamps */
    for (int i = 0; i < 4; i++) {
        last_press_time[i] = 0;
    }
}

int button_manager_init_buttons(void)
{
    int ret;

    /** Check if devices are ready */
    if (!gpio_is_ready_dt(&button1)) {
        LOG_ERR("Button 1 device not ready");
        return -ENODEV;
    }

    if (!gpio_is_ready_dt(&button2)) {
        LOG_ERR("Button 2 device not ready");
        return -ENODEV;
    }

    if (!gpio_is_ready_dt(&button3)) {
        LOG_ERR("Button 3 device not ready");
        return -ENODEV;
    }

    if (!gpio_is_ready_dt(&button4)) {
        LOG_ERR("Button 4 device not ready");
        return -ENODEV;
    }

    /** Configure them as input */
    ret = gpio_pin_configure_dt(&button1, GPIO_INPUT);
    if (ret != 0) {
        LOG_ERR("Failed to configure button 1 (err %d)", ret);
        return ret;
    }
    LOG_DBG("Configured button 1 on port %s pin %d", button1.port->name, button1.pin);

    ret = gpio_pin_configure_dt(&button2, GPIO_INPUT);
    if (ret != 0) {
        LOG_ERR("Failed to configure button 2 (err %d)", ret);
        return ret;
    }
    LOG_DBG("Configured button 2 on port %s pin %d", button2.port->name, button2.pin);

    ret = gpio_pin_configure_dt(&button3, GPIO_INPUT);
    if (ret != 0) {
        LOG_ERR("Failed to configure button 3 (err %d)", ret);
        return ret;
    }
    LOG_DBG("Configured button 3 on port %s pin %d", button3.port->name, button3.pin);

    ret = gpio_pin_configure_dt(&button4, GPIO_INPUT);
    if (ret != 0) {
        LOG_ERR("Failed to configure button 4 (err %d)", ret);
        return ret;
    }
    LOG_DBG("Configured button 4 on port %s pin %d", button4.port->name, button4.pin);

    /** Set interrupt modes */
    for (ssize_t i = 1; i <= 4; i++) {
        button_manager_set_button_interrupt_mode(i, GPIO_INT_EDGE_TO_ACTIVE);
        LOG_DBG("Set button %d interrupt to EDGE_TO_ACTIVE", i);
    }

    /** Add callbacks */
    gpio_init_callback(&button1_cb_data, button1_pressed, BIT(button1.pin));
    ret = gpio_add_callback(button1.port, &button1_cb_data);
    if (ret != 0) {
        LOG_ERR("Failed to add callback for button 1 (err %d)", ret);
        return ret;
    }
    LOG_DBG("Added callback for button 1");

    gpio_init_callback(&button2_cb_data, button2_pressed, BIT(button2.pin));
    ret = gpio_add_callback(button2.port, &button2_cb_data);
    if (ret != 0) {
        LOG_ERR("Failed to add callback for button 2 (err %d)", ret);
        return ret;
    }
    LOG_DBG("Added callback for button 2");

    gpio_init_callback(&button3_cb_data, button3_pressed, BIT(button3.pin));
    ret = gpio_add_callback(button3.port, &button3_cb_data);
    if (ret != 0) {
        LOG_ERR("Failed to add callback for button 3 (err %d)", ret);
        return ret;
    }
    LOG_DBG("Added callback for button 3");

    gpio_init_callback(&button4_cb_data, button4_pressed, BIT(button4.pin));
    ret = gpio_add_callback(button4.port, &button4_cb_data);
    if (ret != 0) {
        LOG_ERR("Failed to add callback for button 4 (err %d)", ret);
        return ret;
    }
    LOG_DBG("Added callback for button 4");

    button_manager_buttons_ready = true;

    return 0;
}

void button_manager_set_button_interrupt_mode(uint8_t button_id, gpio_flags_t mode)
{
    const struct gpio_dt_spec *button = get_button_by_id(button_id);
    if (button == NULL) {
        LOG_ERR("Invalid button ID: %d", button_id);
        return;
    }

    int ret = gpio_pin_interrupt_configure_dt(button, mode);
    if (ret != 0) {
        LOG_ERR("Failed to configure button interrupt (err %d)", ret);
    }
}

static bool is_debounced(uint8_t button_index)
{
    int64_t current_time = k_uptime_get();
    int64_t time_since_last_press = current_time - last_press_time[button_index];

    if (time_since_last_press >= DEBOUNCE_TIME_MS) {
        last_press_time[button_index] = current_time;
        return true;
    }

    LOG_DBG("Button %d debounced (only %lld ms since last press)",
            button_index + 1, time_since_last_press);
    return false;
}

void button1_pressed(const struct device *dev, struct gpio_callback *cb, uint32_t pins)
{
    if (!is_debounced(0)) {
        return;
    }
    LOG_INF("Button 1 pressed - Volume Up");
    app_controller_notify_volume_up_button_pressed();
}

void button2_pressed(const struct device *dev, struct gpio_callback *cb, uint32_t pins)
{
    if (!is_debounced(1)) {
        return;
    }
    LOG_INF("Button 2 pressed - Volume Down");
    app_controller_notify_volume_down_button_pressed();
}

void button3_pressed(const struct device *dev, struct gpio_callback *cb, uint32_t pins)
{
    if (!is_debounced(2)) {
        return;
    }
    LOG_WRN("Button 3 pressed - Pairing!");
    app_controller_notify_pair_button_pressed();
}

void button4_pressed(const struct device *dev, struct gpio_callback *cb, uint32_t pins)
{
    if (!is_debounced(3)) {
        return;
    }
    LOG_INF("Button 4 pressed - Next Preset");
    app_controller_notify_preset_button_pressed();
}

struct gpio_dt_spec* get_button_by_id(uint8_t button_id)
{
    switch (button_id) {
        case 1:
            return &button1;
        case 2:
            return &button2;
        case 3:
            return &button3;
        case 4:
            return &button4;
        default:
            return NULL;
    }
}
```
